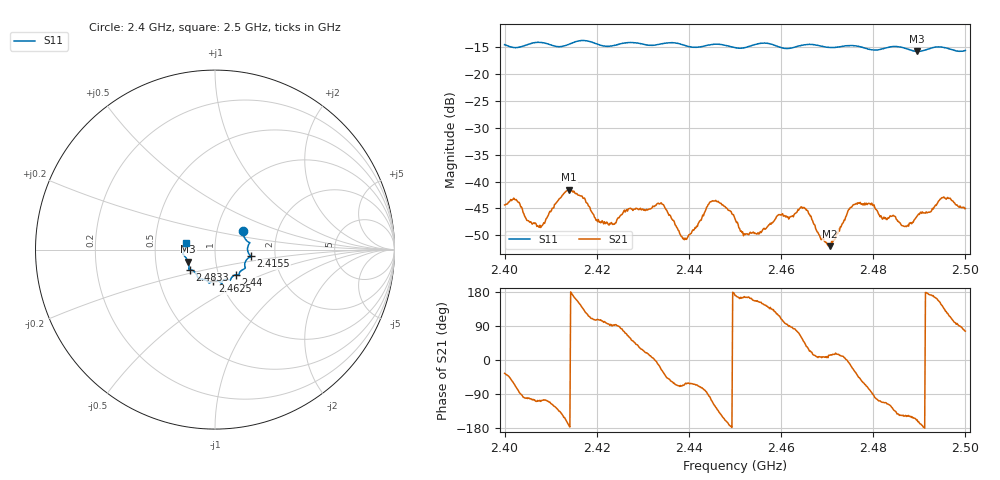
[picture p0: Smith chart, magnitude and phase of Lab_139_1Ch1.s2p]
# Hz S RI R 50
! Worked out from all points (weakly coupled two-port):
!   601 points, 2.4 GHz to 2.5 GHz, reference 50 ohm
!   highest |S21| = -41.49 dB at 2.414 GHz (marker M1); lowest = -52.0 dB at 2.4707 GHz (marker M2)
!   lowest |S11| = -15.7 dB at 2.4895 GHz (marker M3), VSWR 1.39, Z = 36.7 - j5.1 ohm
!   |S11| at or under -10 dB: start of sweep to end of sweep
!   S12 and S22 are empty: the file has one direction only
!   S11 on the Smith chart (normalised r, x): 2.4 GHz: 1.33, +0.29; 2.4155 GHz: 1.49, -0.11; 2.44 GHz: 1.21, -0.35; 2.4625 GHz: 0.92, -0.34; 2.4833 GHz: 0.74, -0.17; 2.5 GHz: 0.72, +0.05
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2.4e9  0.1563 0.1061  0.00495 -0.0035  0 0  0 0
2.402333e9  0.1627 0.0703  0.00246 -0.00632  0 0  0 0
2.407833e9  0.1945 0.0381  -0.00123 -0.00353  0 0  0 0
2.414e9  0.1894 -0.0244  -0.00837 -0.000907  0 0  0 0
2.4155e9  0.1988 -0.0362  -0.00726 0.00267  0 0  0 0
2.416667e9  0.2027 -0.0402  -0.00573 0.00462  0 0  0 0
2.423e9  0.1665 -0.076  -0.000273 0.00403  0 0  0 0
2.433333e9  0.1343 -0.134  0.00617 -0.00126  0 0  0 0
2.44e9  0.1154 -0.14  0.00157 -0.00279  0 0  0 0
2.445e9  0.0853 -0.1694  -0.00206 -0.00625  0 0  0 0
2.45e9  0.0637 -0.1652  -0.00446 0.000758  0 0  0 0
2.452333e9  0.0432 -0.1728  -0.00315 0.000814  0 0  0 0
2.4625e9  -0.0102 -0.1768  0.000431 0.00479  0 0  0 0
2.464833e9  -0.0293 -0.1855  0.00369 0.00439  0 0  0 0
2.466667e9  -0.0334 -0.1869  0.00416 0.00157  0 0  0 0
2.470667e9  -0.0545 -0.1691  0.00244 0.000554  0 0  0 0
2.476167e9  -0.0939 -0.1585  0.00522 -0.00335  0 0  0 0
2.483333e9  -0.1399 -0.1115  -0.00208 -0.00405  0 0  0 0
2.487167e9  -0.1447 -0.0958  -0.00327 -0.00196  0 0  0 0
2.4895e9  -0.1488 -0.0675  -0.0044 -0.00182  0 0  0 0
2.495e9  -0.178 -0.0204  -0.00566 0.00428  0 0  0 0
2.5e9  -0.1628 0.037  0.00135 0.00546  0 0  0 0
